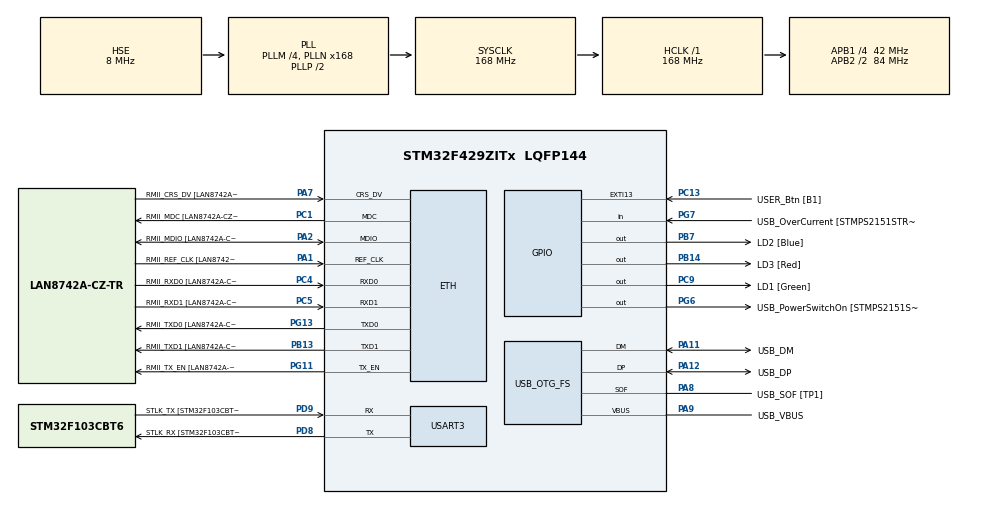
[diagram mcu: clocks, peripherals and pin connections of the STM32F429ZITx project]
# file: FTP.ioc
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ETH.MediaInterface=ETH_MEDIA_INTERFACE_RMII
ETH.PHY_Name=LAN8742A_PHY_ADDRESS
ETH.PHY_Value=0
ETH.PhyAddress=0
FREERTOS.INCLUDE_eTaskGetState=1
FREERTOS.INCLUDE_pcTaskGetTaskName=1
FREERTOS.INCLUDE_vTaskCleanUpResources=1
FREERTOS.INCLUDE_vTaskDelayUntil=1
FREERTOS.INCLUDE_xTaskGetHandle=1
FREERTOS.Tasks01=defaultTask,0,128,StartDefaultTask,As weak,NULL,Dynamic,NULL,NULL
FREERTOS.configUSE_STATS_FORMATTING_FUNCTIONS=1
FREERTOS.configUSE_TRACE_FACILITY=1
LWIP.LWIP_TFTP=1
LWIP.Version=v2.0.3_Cube
Mcu.Family=STM32F4
Mcu.Name=STM32F429ZITx
Mcu.Package=LQFP144
NVIC.ETH_IRQn=true\:5\:0\:false\:false\:true\:true\:false\:true
NVIC.OTG_FS_IRQn=true\:5\:0\:false\:false\:true\:true\:false\:true
NVIC.PriorityGroup=NVIC_PRIORITYGROUP_4
NVIC.TIM6_DAC_IRQn=true\:0\:0\:false\:false\:true\:false\:false\:true
NVIC.TimeBase=TIM6_DAC_IRQn
NVIC.TimeBaseIP=TIM6
PA1.GPIO_Label=RMII_REF_CLK [LAN8742A-CZ-TR_REFCLK0]
PA1.Mode=RMII
PA1.Signal=ETH_REF_CLK
PA10.GPIO_Label=USB_ID
PA10.Signal=USB_OTG_FS_ID
PA11.GPIO_Label=USB_DM
PA11.Mode=Host_Only
PA11.Signal=USB_OTG_FS_DM
PA12.GPIO_Label=USB_DP
PA12.Mode=Host_Only
PA12.Signal=USB_OTG_FS_DP
PA13.GPIO_Label=TMS
PA13.Mode=Serial_Wire
PA13.Signal=SYS_JTMS-SWDIO
PA14.GPIO_Label=TCK
PA14.Mode=Serial_Wire
PA14.Signal=SYS_JTCK-SWCLK
PA2.GPIO_Label=RMII_MDIO [LAN8742A-CZ-TR_MDIO]
PA2.Mode=RMII
PA2.Signal=ETH_MDIO
PA7.GPIO_Label=RMII_CRS_DV [LAN8742A-CZ-TR_CRS_DV]
PA7.Mode=RMII
PA7.Signal=ETH_CRS_DV
PA8.GPIO_Label=USB_SOF [TP1]
PA8.Mode=Activate_SOF_FS
PA8.Signal=USB_OTG_FS_SOF
PA9.GPIO_Label=USB_VBUS
PA9.Mode=Activate_VBUS
PA9.Signal=USB_OTG_FS_VBUS
PB13.GPIO_Label=RMII_TXD1 [LAN8742A-CZ-TR_TXD1]
PB13.Mode=RMII
PB13.Signal=ETH_TXD1
PB14.GPIO_Label=LD3 [Red]
PB14.Signal=GPIO_Output
PB7.GPIO_Label=LD2 [Blue]
PB7.Signal=GPIO_Output
PC1.GPIO_Label=RMII_MDC [LAN8742A-CZ-TR_MDC]
PC1.Mode=RMII
PC1.Signal=ETH_MDC
PC13.GPIO_Label=USER_Btn [B1]
PC13.Signal=GPXTI13
PC14/OSC32_IN.Mode=LSE-External-Oscillator
PC14/OSC32_IN.Signal=RCC_OSC32_IN
PC15/OSC32_OUT.Mode=LSE-External-Oscillator
PC15/OSC32_OUT.Signal=RCC_OSC32_OUT
PC4.GPIO_Label=RMII_RXD0 [LAN8742A-CZ-TR_RXD0]
PC4.Mode=RMII
PC4.Signal=ETH_RXD0
PC5.GPIO_Label=RMII_RXD1 [LAN8742A-CZ-TR_RXD1]
PC5.Mode=RMII
PC5.Signal=ETH_RXD1
PC9.GPIO_Label=LD1 [Green]
PC9.Signal=GPIO_Output
PD8.GPIO_Label=STLK_RX [STM32F103CBT6_PA3]
PD8.Mode=Asynchronous
PD8.Signal=USART3_TX
PD9.GPIO_Label=STLK_TX [STM32F103CBT6_PA2]
PD9.Mode=Asynchronous
PD9.Signal=USART3_RX
PG11.GPIO_Label=RMII_TX_EN [LAN8742A-CZ-TR_TXEN]
PG11.Mode=RMII
PG11.Signal=ETH_TX_EN
PG13.GPIO_Label=RMII_TXD0 [LAN8742A-CZ-TR_TXD0]
PG13.Mode=RMII
PG13.Signal=ETH_TXD0
PG6.GPIO_Label=USB_PowerSwitchOn [STMPS2151STR_EN]
PG6.Signal=GPIO_Output
PG7.GPIO_Label=USB_OverCurrent [STMPS2151STR_FAULT]
PG7.Signal=GPIO_Input
PH0/OSC_IN.GPIO_Label=MCO [STM32F103CBT6_PA8]
PH0/OSC_IN.Mode=HSE-External-Clock-Source
PH0/OSC_IN.Signal=RCC_OSC_IN
PH1/OSC_OUT.Mode=HSE-External-Clock-Source
PH1/OSC_OUT.Signal=RCC_OSC_OUT
ProjectManager.HeapSize=0x200
ProjectManager.StackSize=0x400
ProjectManager.TargetToolchain=STM32CubeIDE
RCC.48MHZClocksFreq_Value=48000000
RCC.AHBFreq_Value=168000000
RCC.APB1CLKDivider=RCC_HCLK_DIV4
RCC.APB1Freq_Value=42000000
RCC.APB1TimFreq_Value=84000000
RCC.APB2CLKDivider=RCC_HCLK_DIV2
RCC.APB2Freq_Value=84000000
RCC.APB2TimCLKDivider=2
RCC.APB2TimFreq_Value=168000000
RCC.CortexFreq_Value=168000000
RCC.HCLKFreq_Value=168000000
RCC.HSE_VALUE=8000000
RCC.HSI_VALUE=16000000
RCC.PLLM=4
RCC.PLLMUL=RCC_PLL_MUL9
RCC.PLLN=168
RCC.PLLQ=7
RCC.PRESCALERUSB=RCC_USBCLKSOURCE_PLL_DIV1_5
RCC.SYSCLKFreq_VALUE=168000000
RCC.SYSCLKSource=RCC_SYSCLKSOURCE_PLLCLK
RCC.SYSCLKSourceVirtual=RCC_SYSCLKSOURCE_PLLCLK
RCC.USBFreq_Value=48000000
RCC.VCOOutputFreq_Value=336000000
USART3.VirtualMode=VM_ASYNC
USB_HOST.BSP.number=1
USB_HOST.USBH_DEBUG_LEVEL-MSC_FS=3
USB_HOST.USBH_HandleTypeDef-MSC_FS=hUsbHostFS
USB_HOST.VirtualModeFS=Msc
USB_HOST0.BSP.STBoard=false
USB_HOST0.BSP.api=Unknown
USB_HOST0.BSP.i2caddr=0
USB_HOST0.BSP.instance=PG6
USB_HOST0.BSP.ip=GPIO
USB_HOST0.BSP.mode=Output
USB_HOST0.BSP.name=Drive_VBUS_FS
USB_HOST0.BSP.solution=PG6
USB_OTG_FS.VirtualMode=Host_Only
USB_OTG_FS.phy_itface=HCD_PHY_EMBEDDED
VP_FATFS_VS_USB.Mode=USB
VP_FREERTOS_VS_CMSIS_V1.Mode=CMSIS_V1
VP_LWIP_VS_Enabled.Mode=Enabled
VP_SYS_VS_tim6.Mode=TIM6
VP_USB_HOST_VS_USB_HOST_MSC_FS.Mode=MSC_FS
board=NUCLEO-F429ZI

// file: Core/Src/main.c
/* USER CODE BEGIN Header */
/**
  ******************************************************************************
  * @file           : main.c
  * @brief          : Main program body
  ******************************************************************************
  * @attention
  *
  * <h2><center>&copy; Copyright (c) 2019 STMicroelectronics.
  * All rights reserved.</center></h2>
  *
  * This software component is licensed by ST under Ultimate Liberty license
  * SLA0044, the "License"; You may not use this file except in compliance with
  * the License. You may obtain a copy of the License at:
  *                             www.st.com/SLA0044
  *
  ******************************************************************************
  */
/* USER CODE END Header */

#include "main.h"
#include "cmsis_os.h"
#include "fatfs.h"
#include "lwip.h"
#include "usb_host.h"
#include "usbh_platform.h"

/* USER CODE BEGIN Includes */
#include "dbgu.h"
#include "term_io.h"
#include "ansi.h"
#include <stdio.h>
#include <stm32f4xx_nucleo_144.h>
/* USER CODE END Includes */

UART_HandleTypeDef huart3;

osThreadId defaultTaskHandle;

void SystemClock_Config(void);
static void MX_GPIO_Init(void);
static void MX_USART3_UART_Init(void);
void StartDefaultTask(void const * argument);

int main(void)
{

  /* MCU Configuration--------------------------------------------------------*/

  /* Reset of all peripherals, Initializes the Flash interface and the Systick. */
  HAL_Init();

  /* Configure the system clock */
  SystemClock_Config();

  /* Initialize all configured peripherals */
  MX_GPIO_Init();
  MX_USART3_UART_Init();
  /* USER CODE BEGIN 2 */

//  char ch = '.';
//  HAL_UART_Transmit(&huart3, (uint8_t *)&ch, 1, 0xFFFF);

  debug_init(&huart3);
//  xprintf(ANSI_BG_BLUE "Nucleo-144 project" ANSI_BG_DEFAULT "\n");

//  xprintf("Test\n\r");
//  xprintf("r%lup%lu\n", ((SCB->CPUID >> 20) & 0x0F), (SCB->CPUID & 0x0F));

//  while (1) {
//  	  HAL_GPIO_TogglePin(LD3_GPIO_Port, LD3_Pin);
//  	  HAL_Delay(1000);
//    }

  BSP_LED_Init(LED_GREEN);
  BSP_LED_Init(LED_RED);
  BSP_LED_Init(LED_BLUE);

  /* USER CODE END 2 */

  /* Create the thread(s) */
  /* definition and creation of defaultTask */
  osThreadDef(defaultTask, StartDefaultTask, osPriorityNormal, 0, 512);
  defaultTaskHandle = osThreadCreate(osThread(defaultTask), NULL);

  /* Start scheduler */
  osKernelStart();

  /* We should never get here as control is now taken by the scheduler */

  /* Infinite loop */
  while (1)
  {

  }
}

void SystemClock_Config(void)
{
  RCC_OscInitTypeDef RCC_OscInitStruct = {0};
  RCC_ClkInitTypeDef RCC_ClkInitStruct = {0};

  /** Configure the main internal regulator output voltage
  */
  __HAL_RCC_PWR_CLK_ENABLE();
  __HAL_PWR_VOLTAGESCALING_CONFIG(PWR_REGULATOR_VOLTAGE_SCALE1);
  /** Initializes the CPU, AHB and APB busses clocks
  */
  RCC_OscInitStruct.OscillatorType = RCC_OSCILLATORTYPE_HSE;
  RCC_OscInitStruct.HSEState = RCC_HSE_BYPASS;
  RCC_OscInitStruct.PLL.PLLState = RCC_PLL_ON;
  RCC_OscInitStruct.PLL.PLLSource = RCC_PLLSOURCE_HSE;
  RCC_OscInitStruct.PLL.PLLM = 4;
  RCC_OscInitStruct.PLL.PLLN = 168;
  RCC_OscInitStruct.PLL.PLLP = RCC_PLLP_DIV2;
  RCC_OscInitStruct.PLL.PLLQ = 7;
  if (HAL_RCC_OscConfig(&RCC_OscInitStruct) != HAL_OK)
  {
    Error_Handler();
  }
  /** Initializes the CPU, AHB and APB busses clocks
  */
  RCC_ClkInitStruct.ClockType = RCC_CLOCKTYPE_HCLK|RCC_CLOCKTYPE_SYSCLK
                              |RCC_CLOCKTYPE_PCLK1|RCC_CLOCKTYPE_PCLK2;
  RCC_ClkInitStruct.SYSCLKSource = RCC_SYSCLKSOURCE_PLLCLK;
  RCC_ClkInitStruct.AHBCLKDivider = RCC_SYSCLK_DIV1;
  RCC_ClkInitStruct.APB1CLKDivider = RCC_HCLK_DIV4;
  RCC_ClkInitStruct.APB2CLKDivider = RCC_HCLK_DIV2;

  if (HAL_RCC_ClockConfig(&RCC_ClkInitStruct, FLASH_LATENCY_5) != HAL_OK)
  {
    Error_Handler();
  }
}

static void MX_USART3_UART_Init(void)
{

  huart3.Instance = USART3;
  huart3.Init.BaudRate = 115200;
  huart3.Init.WordLength = UART_WORDLENGTH_8B;
  huart3.Init.StopBits = UART_STOPBITS_1;
  huart3.Init.Parity = UART_PARITY_NONE;
  huart3.Init.Mode = UART_MODE_TX_RX;
  huart3.Init.HwFlowCtl = UART_HWCONTROL_NONE;
  huart3.Init.OverSampling = UART_OVERSAMPLING_16;
  if (HAL_UART_Init(&huart3) != HAL_OK)
  {
    Error_Handler();
  }

}

static void MX_GPIO_Init(void)
{
  GPIO_InitTypeDef GPIO_InitStruct = {0};

  /* GPIO Ports Clock Enable */
  __HAL_RCC_GPIOC_CLK_ENABLE();
  __HAL_RCC_GPIOH_CLK_ENABLE();
  __HAL_RCC_GPIOA_CLK_ENABLE();
  __HAL_RCC_GPIOB_CLK_ENABLE();
  __HAL_RCC_GPIOD_CLK_ENABLE();
  __HAL_RCC_GPIOG_CLK_ENABLE();

  /*Configure GPIO pin Output Level */
  HAL_GPIO_WritePin(GPIOB, LD3_Pin|LD2_Pin, GPIO_PIN_RESET);

  /*Configure GPIO pin Output Level */
  HAL_GPIO_WritePin(USB_PowerSwitchOn_GPIO_Port, USB_PowerSwitchOn_Pin, GPIO_PIN_SET);

  /*Configure GPIO pin Output Level */
  HAL_GPIO_WritePin(LD1_GPIO_Port, LD1_Pin, GPIO_PIN_RESET);

  /*Configure GPIO pin : USER_Btn_Pin */
  GPIO_InitStruct.Pin = USER_Btn_Pin;
  GPIO_InitStruct.Mode = GPIO_MODE_IT_RISING;
  GPIO_InitStruct.Pull = GPIO_NOPULL;
  HAL_GPIO_Init(USER_Btn_GPIO_Port, &GPIO_InitStruct);

  /*Configure GPIO pins : LD3_Pin LD2_Pin */
  GPIO_InitStruct.Pin = LD3_Pin|LD2_Pin;
  GPIO_InitStruct.Mode = GPIO_MODE_OUTPUT_PP;
  GPIO_InitStruct.Pull = GPIO_NOPULL;
  GPIO_InitStruct.Speed = GPIO_SPEED_FREQ_LOW;
  HAL_GPIO_Init(GPIOB, &GPIO_InitStruct);

  /*Configure GPIO pin : USB_PowerSwitchOn_Pin */
  GPIO_InitStruct.Pin = USB_PowerSwitchOn_Pin;
  GPIO_InitStruct.Mode = GPIO_MODE_OUTPUT_PP;
  GPIO_InitStruct.Pull = GPIO_NOPULL;
  GPIO_InitStruct.Speed = GPIO_SPEED_FREQ_LOW;
  HAL_GPIO_Init(USB_PowerSwitchOn_GPIO_Port, &GPIO_InitStruct);

  /*Configure GPIO pin : USB_OverCurrent_Pin */
  GPIO_InitStruct.Pin = USB_OverCurrent_Pin;
  GPIO_InitStruct.Mode = GPIO_MODE_INPUT;
  GPIO_InitStruct.Pull = GPIO_NOPULL;
  HAL_GPIO_Init(USB_OverCurrent_GPIO_Port, &GPIO_InitStruct);

  /*Configure GPIO pin : LD1_Pin */
  GPIO_InitStruct.Pin = LD1_Pin;
  GPIO_InitStruct.Mode = GPIO_MODE_OUTPUT_PP;
  GPIO_InitStruct.Pull = GPIO_NOPULL;
  GPIO_InitStruct.Speed = GPIO_SPEED_FREQ_LOW;
  HAL_GPIO_Init(LD1_GPIO_Port, &GPIO_InitStruct);

}

/* USER CODE BEGIN 4 */
//extern struct netif gnetif;
//
//__weak void displayOwnIp(void)
//{
//  xprintf(
//    "My IP: %d.%d.%d.%d\n",
//    ip4_addr1_16(netif_ip4_addr(&gnetif)),
//    ip4_addr2_16(netif_ip4_addr(&gnetif)),
//    ip4_addr3_16(netif_ip4_addr(&gnetif)),
//    ip4_addr4_16(netif_ip4_addr(&gnetif))
//    );
//}

/* USER CODE END 4 */

extern ApplicationTypeDef Appli_state;
//__weak void StartDefaultTask(void const * argument)
//{
//  /* init code for USB_HOST */
//  MX_USB_HOST_Init();
//
//
//  /* init code for FATFS */
//  MX_FATFS_Init();
//
//  /* init code for LWIP */
//  MX_LWIP_Init();
//
//
//
//  /* USER CODE BEGIN 5 */
////  xprintf("Obtaining address with DHCP...\n");
////  struct dhcp *dhcp = netif_dhcp_data(&gnetif);
//
//  MX_DriverVbusFS(0);
//
//  xprintf("waiting for USB device...");
//    do{
//  	  xprintf(".");
//  	  vTaskDelay(100);
//    }while(Appli_state != APPLICATION_READY);
//    xprintf("USB device ready!");
//
//  /* Infinite loop */
//  for(;;)
//  {
//    osDelay(1);
//  }
//  /* USER CODE END 5 */
//}

void HAL_TIM_PeriodElapsedCallback(TIM_HandleTypeDef *htim)
{
  if (htim->Instance == TIM6) {
    HAL_IncTick();
  }
}

void Error_Handler(void)
{
}

/************************ (C) COPYRIGHT STMicroelectronics *****END OF FILE****/

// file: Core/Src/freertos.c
/* USER CODE BEGIN Header */
/**
  ******************************************************************************
  * File Name          : freertos.c
  * Description        : Code for freertos applications
  ******************************************************************************
  * @attention
  *
  * <h2><center>&copy; Copyright (c) 2019 STMicroelectronics.
  * All rights reserved.</center></h2>
  *
  * This software component is licensed by ST under Ultimate Liberty license
  * SLA0044, the "License"; You may not use this file except in compliance with
  * the License. You may obtain a copy of the License at:
  *                             www.st.com/SLA0044
  *
  ******************************************************************************
  */
/* USER CODE END Header */

#include "FreeRTOS.h"
#include "task.h"
#include "main.h"

/* USER CODE BEGIN Includes */
#include "fatfs.h"
#include "lwip.h"
#include "usb_host.h"
#include "stm32f4xx_nucleo_144.h"
#include "lwip/api.h"
#include "lwip/prot/dhcp.h"
#include "term_io.h"

#include "ftpd.h"

/* USER CODE END Includes */

/* GetIdleTaskMemory prototype (linked to static allocation support) */
void vApplicationGetIdleTaskMemory( StaticTask_t **ppxIdleTaskTCBBuffer, StackType_t **ppxIdleTaskStackBuffer, uint32_t *pulIdleTaskStackSize );

/* USER CODE BEGIN GET_IDLE_TASK_MEMORY */
static StaticTask_t xIdleTaskTCBBuffer;
static StackType_t xIdleStack[configMINIMAL_STACK_SIZE];

void vApplicationGetIdleTaskMemory( StaticTask_t **ppxIdleTaskTCBBuffer, StackType_t **ppxIdleTaskStackBuffer, uint32_t *pulIdleTaskStackSize )
{
  *ppxIdleTaskTCBBuffer = &xIdleTaskTCBBuffer;
  *ppxIdleTaskStackBuffer = &xIdleStack[0];
  *pulIdleTaskStackSize = configMINIMAL_STACK_SIZE;
  /* place for user code */
}
/* USER CODE END GET_IDLE_TASK_MEMORY */

/* USER CODE BEGIN Application */
extern struct netif gnetif;

/*
fragmenty kodu dla serwera WWW
opracowano na podstawie dostepnych przykladow
*/
void displayOwnIp(void)
{
  xprintf(
    "My IP: %d.%d.%d.%d\n",
    ip4_addr1_16(netif_ip4_addr(&gnetif)),
    ip4_addr2_16(netif_ip4_addr(&gnetif)),
    ip4_addr3_16(netif_ip4_addr(&gnetif)),
    ip4_addr4_16(netif_ip4_addr(&gnetif))
    );
}

static char response[500];

//based on available code examples
static void http_server_serve(struct netconn *conn)
{
  struct netbuf *inbuf;
  err_t recv_err;
  char* buf;
  u16_t buflen;

  /* Read the data from the port, blocking if nothing yet there.
   We assume the request (the part we care about) is in one netbuf */
  recv_err = netconn_recv(conn, &inbuf);

  if (recv_err == ERR_OK)
  {
    if (netconn_err(conn) == ERR_OK)
    {
      netbuf_data(inbuf, (void**)&buf, &buflen);

      /* Is this an HTTP GET command? (only check the first 5 chars, since
      there are other formats for GET, and we're keeping it very simple )*/
      if ((buflen >=5) && (strncmp(buf, "GET /", 5) == 0))
      {
        response[0] = 0;

        strcpy(response, "HTTP/1.1 200 OK\r\n\
          Content-Type: text/html\r\n\
          Connnection: close\r\n\r\n\
          <!DOCTYPE HTML>\r\n");

        strcat(response,"<title>Prosta strona WWW</title>");
        strcat(response,"<h1>H1 Header</h1>");

        strcat(response,"A to jest tekst na stronie");
          netconn_write(conn, response, sizeof(response), NETCONN_NOCOPY);
      }
    }
  }
  /* Close the connection (server closes in HTTP) */
  netconn_close(conn);

  /* Delete the buffer (netconn_recv gives us ownership,
   so we have to make sure to deallocate the buffer) */
  netbuf_delete(inbuf);
}

//based on available code examples
static void http_server_netconn_thread(void const *arg)
{
  struct netconn *conn, *newconn;
  err_t err, accept_err;

  xprintf("http_server_netconn_thread\n");

  /* Create a new TCP connection handle */
  conn = netconn_new(NETCONN_TCP);

  if (conn!= NULL)
  {
    /* Bind to port 80 (HTTP) with default IP address */
    err = netconn_bind(conn, NULL, 80);

    if (err == ERR_OK)
    {
      /* Put the connection into LISTEN state */
      netconn_listen(conn);

      while(1)
      {
        /* accept any icoming connection */
        accept_err = netconn_accept(conn, &newconn);
        if(accept_err == ERR_OK)
        {
          /* serve connection */
          http_server_serve(newconn);

          /* delete connection */
          netconn_delete(newconn);
        }
      }
    }
  }
}

 void StartDefaultTask(void const * argument)
{
	 // Glowny task aplikacji
 /* init code for USB_HOST */
   MX_USB_HOST_Init();

  /* init code for FATFS */
  MX_FATFS_Init();

  /* init code for LWIP */
  MX_LWIP_Init();

  xprintf("DefaultTask!\n\r");

  /* Infinite loop */

  xprintf("Obtaining address with DHCP...\n");
  struct dhcp *dhcp = netif_dhcp_data(&gnetif);
  u8_t lState = 0;
  do {
	  if (dhcp->state != lState) {
		  lState = dhcp->state;
		  xprintf("State changed to: %02X\r\n", lState);
		  switch (dhcp->state) {
		  	  case DHCP_STATE_OFF:
		  		  xprintf("DHCP_STATE_OFF");
		  		  break;
		  	case DHCP_STATE_REQUESTING:
				  xprintf("DHCP_STATE_REQUESTING");
				  break;
		  	case DHCP_STATE_INIT:
				  xprintf("DHCP_STATE_INIT");
				  break;
		  	case DHCP_STATE_REBOOTING:
				  xprintf("DHCP_STATE_REBOOTING");
				  break;
		  	case DHCP_STATE_REBINDING:
				  xprintf("DHCP_STATE_REBINDING");
				  break;
		  	case DHCP_STATE_RENEWING:
				  xprintf("DHCP_STATE_RENEWING");
				  break;
		  	case DHCP_STATE_SELECTING:
				  xprintf("DHCP_STATE_SELECTING");
				  break;
		  	case DHCP_STATE_INFORMING:
				  xprintf("DHCP_STATE_INFORMING");
				  break;
		  	case DHCP_STATE_CHECKING:
				  xprintf("DHCP_STATE_CHECKING");
				  break;
		  	case DHCP_STATE_PERMANENT:
				  xprintf("DHCP_STATE_PERMANENT");
				  break;
		  	case DHCP_STATE_BOUND:
				  xprintf("DHCP_STATE_BOUND");
				  break;
		  	case DHCP_STATE_RELEASING:
				  xprintf("DHCP_STATE_RELEASING");
				  break;
		  	case DHCP_STATE_BACKING_OFF:
				  xprintf("DHCP_STATE_BACKING_OFF");
				  break;
		  }
		  xprintf("\r\n");
	  }

	  vTaskDelay(250);
  } while(dhcp->state != DHCP_STATE_BOUND);
  xprintf("DHCP bound\n");
  displayOwnIp();
//  extern ApplicationTypeDef Appli_state;
//
//  while(Appli_state != APPLICATION_READY);
//  FIL file;
//  char buffer[32];
//  uint signs_read;
//
//  puts("File contents:\n");
//  f_open(&file, "0:/test.txt", FA_READ);
//  while(f_eof(&file) == 0) {
//	  f_read(&file, buffer, 32, &signs_read);
//	  printf("%.*s", signs_read, buffer);
//  }
//  f_close(&file);
//  puts("\n");

  ftpd_init();

  for(;;)
  {
//	  BSP_LED_Toggle(LED_GREEN);
//	  BSP_LED_Toggle(LED_RED);
//	  BSP_LED_Toggle(LED_BLUE);
    osDelay(200);
  }
}

/* USER CODE END Application */

/************************ (C) COPYRIGHT STMicroelectronics *****END OF FILE****/
